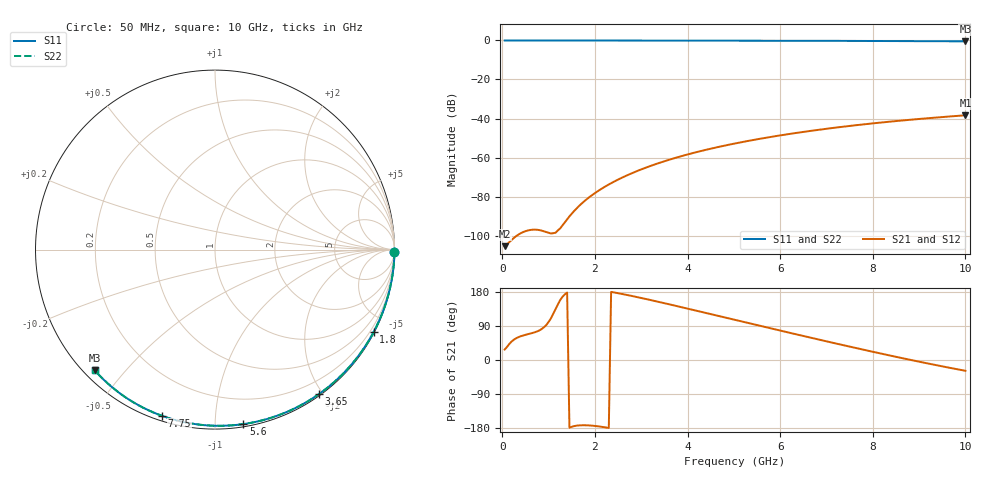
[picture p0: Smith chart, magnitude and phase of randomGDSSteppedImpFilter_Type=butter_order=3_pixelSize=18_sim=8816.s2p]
! freq	dB(S11)	phase(S11)	dB(S12)	phase(S12)
!  dB(S21)	phase(S21)	dB(S22)	phase(S22)
!S-par simulation data
#  GHz  S  DB  R 50
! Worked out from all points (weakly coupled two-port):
!   200 points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, 50 MHz to 10 GHz, reference 50 ohm
!   highest |S21| = -38.33 dB at 10 GHz (marker M1); lowest = -105.4 dB at 50 MHz (marker M2)
!   lowest |S11| = -0.5 dB at 10 GHz (marker M3), VSWR 38.45, Z = 1.52 - j20.7 ohm
!   |S11| at or under -10 dB: nowhere
!   |S22| runs from -0.5 to 0.0 dB; largest |S21 - S12| = 0
!   S11 on the Smith chart (normalised r, x): 50 MHz: open; 1.8 GHz: 0.04, -4.10; 3.65 GHz: 0.02, -1.95; 5.6 GHz: 0.02, -1.18; 7.75 GHz: 0.02, -0.73; 10 GHz: 0.03, -0.41
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0.05  -0.00 -0.8  -105.39 27.5  -105.39 27.5  -0.00 -0.8
0.45  -0.01 -7.0  -98.17 64.7  -98.17 64.7  -0.01 -7.0
0.9  -0.02 -13.8  -97.79 86.5  -97.79 86.5  -0.02 -13.8
1.75  -0.03 -26.7  -82.78 -172.1  -82.78 -172.1  -0.03 -26.7
1.8  -0.03 -27.4  -81.77 -172.2  -81.77 -172.2  -0.03 -27.4
1.9  -0.04 -28.9  -79.91 -172.8  -79.91 -172.8  -0.04 -28.9
2.05  -0.04 -31.1  -77.39 -174.7  -77.39 -174.7  -0.04 -31.1
2.25  -0.04 -34.1  -74.45 -178.2  -74.45 -178.2  -0.04 -34.1
2.45  -0.05 -37.0  -71.87 177.5  -71.87 177.5  -0.05 -37.0
2.65  -0.05 -40.0  -69.57 172.7  -69.57 172.7  -0.05 -40.0
3  -0.06 -45.0  -66.06 163.7  -66.06 163.7  -0.06 -45.0
3.4  -0.07 -50.8  -62.65 152.7  -62.65 152.7  -0.07 -50.8
3.65  -0.07 -54.3  -60.78 145.7  -60.78 145.7  -0.07 -54.3
4.3  -0.09 -63.4  -56.58 127.0  -56.58 127.0  -0.09 -63.4
5.05  -0.11 -73.5  -52.65 105.1  -52.65 105.1  -0.11 -73.5
5.6  -0.13 -80.8  -50.22 89.2  -50.22 89.2  -0.13 -80.8
6.15  -0.15 -87.8  -48.08 73.4  -48.08 73.4  -0.15 -87.8
6.7  -0.18 -94.8  -46.18 57.7  -46.18 57.7  -0.18 -94.8
7.75  -0.25 -107.7  -43.11 28.5  -43.11 28.5  -0.25 -107.7
8.35  -0.29 -115.0  -41.64 12.3  -41.64 12.3  -0.29 -115.0
9.15  -0.36 -124.6  -39.92 -8.2  -39.92 -8.2  -0.36 -124.6
10  -0.45 -134.9  -38.33 -28.5  -38.33 -28.5  -0.45 -134.9
